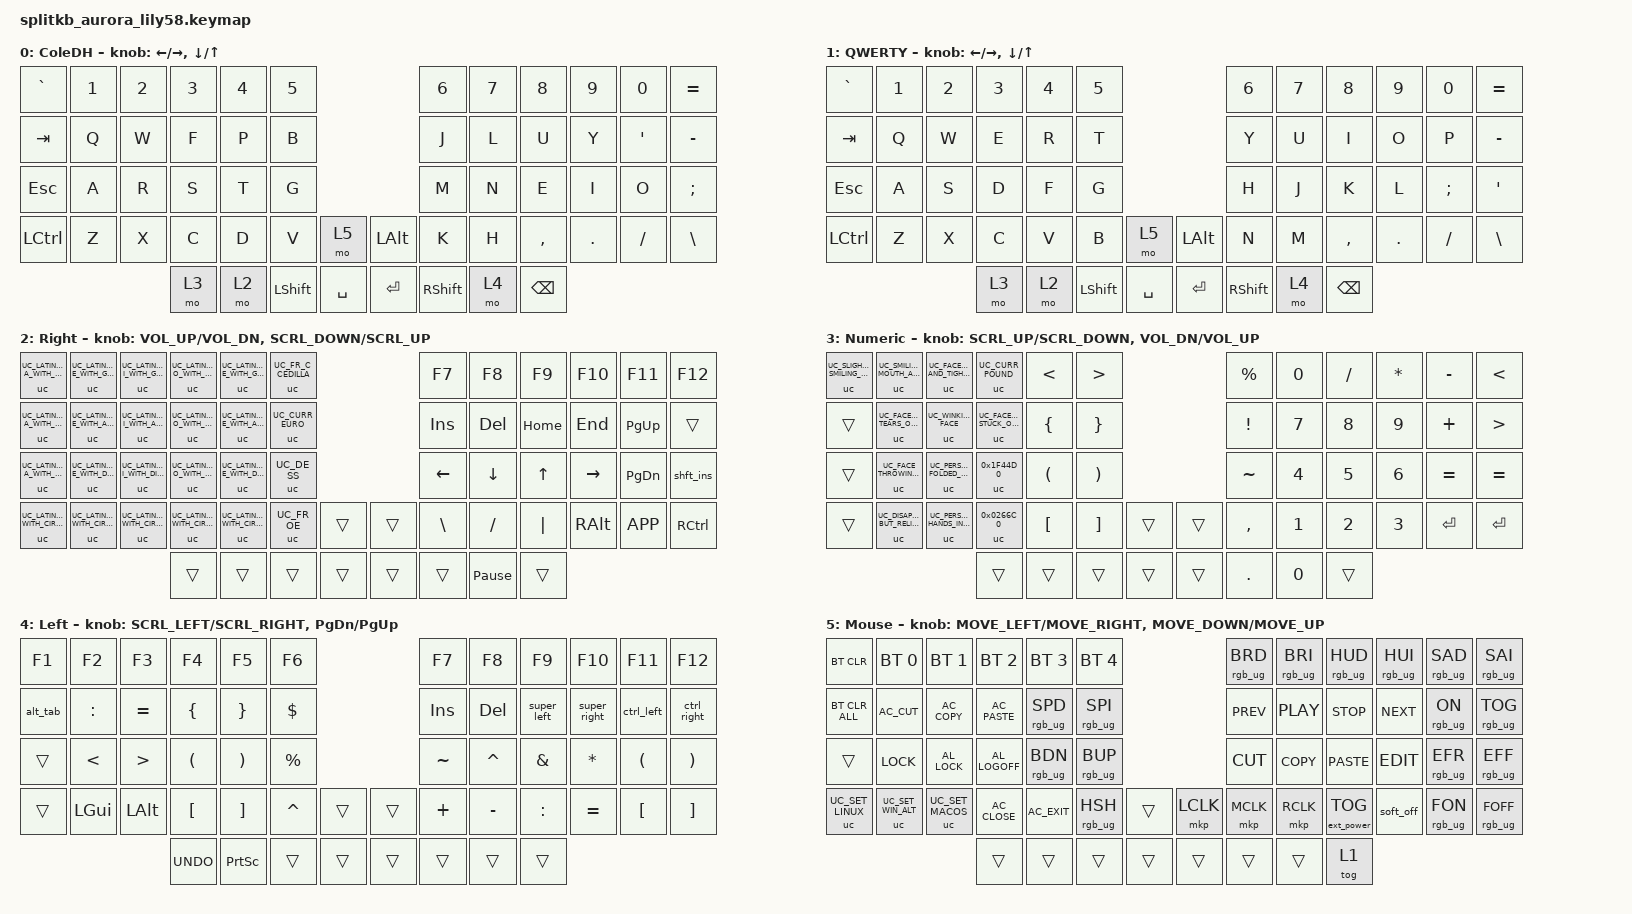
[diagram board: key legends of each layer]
/*
 * Copyright (c) 2022 The ZMK Contributors
 *
 * SPDX-License-Identifier: MIT
 */

#define ZMK_POINTING_DEFAULT_MOVE_VAL 1500  // default: 600
#define ZMK_POINTING_DEFAULT_SCRL_VAL 8     // default: 10

#include <behaviors/unicode.dtsi>
#include <behaviors.dtsi>
#include <dt-bindings/zmk/keys.h>
#include <dt-bindings/zmk/bt.h>
#include <dt-bindings/zmk/rgb.h>
#include <dt-bindings/zmk/ext_power.h>
#include <dt-bindings/zmk/pointing.h>
#include <dt-bindings/zmk-unicode/uc.h>
#include <zmk-unicode/keys-extra.h>

#define CLICK   &kp LCLK
#define L_SHFT  &kp LSHFT
#define R_SHFT  &kp RSHFT
#define L_ALT   &kp LALT
#define R_ALT   &kp RALT
#define L_CTRL  &kp LCTRL
#define R_CTRL  &kp RCTRL

#define CCUT    &kp C_AC_CUT
#define CCOPY   &kp C_AC_COPY
#define CPASTE  &kp C_AC_PASTE

#define KLOCK   &kp K_LOCK
#define CLOCK   &kp C_AL_LOCK
#define CLOGOFF &kp C_AL_LOGOFF

#define CCLOSE  &kp C_AC_CLOSE
#define CEXIT   &kp C_AC_EXIT

#define MO2     &mo 2
#define MO3     &mo 3
#define MO4     &mo 4
#define MO5     &mo 5

#define TOG1    &tog 1

#define RGBON   &rgb_ug RGB_ON
#define RGBOFF  &rgb_ug RGB_OFF
#define RGBFON  &rgb_ug RGB_FON
#define RGBFOFF &rgb_ug RGB_FOFF
#define RGBTOG  &rgb_ug RGB_TOG
#define RGBHUI  &rgb_ug RGB_HUI
#define RGBHUD  &rgb_ug RGB_HUD
#define RGBSAI  &rgb_ug RGB_SAI
#define RGBSAD  &rgb_ug RGB_SAD
#define RGBBRI  &rgb_ug RGB_BRI
#define RGBBRD  &rgb_ug RGB_BRD
#define RGBEFF  &rgb_ug RGB_EFF
#define RGBEFR  &rgb_ug RGB_EFR
#define RGBSPI  &rgb_ug RGB_SPI
#define RGBSPD  &rgb_ug RGB_SPD
#define RGBBUP  &rgb_ug RGB_BUP
#define RGBBDN  &rgb_ug RGB_BDN
#define RGBHSH  &rgb_ug RGB_HSH

#define BTCLR   &bt BT_CLR
#define BTSEL0  &bt BT_SEL 0
#define BTSEL1  &bt BT_SEL 1
#define BTSEL2  &bt BT_SEL 2
#define BTSEL3  &bt BT_SEL 3
#define BTSEL4  &bt BT_SEL 4
#define BTCLRA  &bt BT_CLR_ALL

#define EXTON   &ext_power EP_ON 
#define EXTOFF  &ext_power EP_OFF 
#define EXTTOG  &ext_power EP_TOG 

#define USLI    &uc UC_SET_LINUX
#define USWI    &uc UC_SET_WIN_ALT
#define USMA    &uc UC_SET_MACOS

#define AGRAVE  &uc UC_LATIN_LETTER_A_WITH_GRAVE
#define AACUTE  &uc UC_LATIN_LETTER_A_WITH_ACUTE
#define ADIAER  &uc UC_LATIN_LETTER_A_WITH_DIAERESIS
#define ACIRCM  &uc UC_LATIN_LETTER_A_WITH_CIRCUMFLEX
#define EGRAVE  &uc UC_LATIN_LETTER_E_WITH_GRAVE
#define EACUTE  &uc UC_LATIN_LETTER_E_WITH_ACUTE
#define EDIAER  &uc UC_LATIN_LETTER_E_WITH_DIAERESIS
#define ECIRCM  &uc UC_LATIN_LETTER_E_WITH_CIRCUMFLEX
#define IGRAVE  &uc UC_LATIN_LETTER_I_WITH_GRAVE
#define IACUTE  &uc UC_LATIN_LETTER_I_WITH_ACUTE
#define IDIAER  &uc UC_LATIN_LETTER_I_WITH_DIAERESIS
#define ICIRCM  &uc UC_LATIN_LETTER_I_WITH_CIRCUMFLEX
#define OGRAVE  &uc UC_LATIN_LETTER_O_WITH_GRAVE
#define OACUTE  &uc UC_LATIN_LETTER_O_WITH_ACUTE
#define ODIAER  &uc UC_LATIN_LETTER_O_WITH_DIAERESIS
#define OCIRCM  &uc UC_LATIN_LETTER_O_WITH_CIRCUMFLEX
#define UGRAVE  &uc UC_LATIN_LETTER_E_WITH_GRAVE
#define UACUTE  &uc UC_LATIN_LETTER_E_WITH_ACUTE
#define UDIAER  &uc UC_LATIN_LETTER_E_WITH_DIAERESIS
#define UCIRCM  &uc UC_LATIN_LETTER_U_WITH_CIRCUMFLEX

#define EURO    &uc UC_CURR_EURO
#define STERL   &uc UC_CURR_POUND

#define CDILLA  &uc UC_FR_C_CEDILLA
#define RINGLS  &uc UC_DE_SS

#define SMILE   &uc UC_SLIGHTLY_SMILING_FACE
#define LAUGH   &uc UC_SMILING_FACE_WITH_OPEN_MOUTH_AND_SMILING_EYES
#define KISS    &uc UC_FACE_THROWING_A_KISS
#define WINK    &uc UC_WINKING_FACE
#define CRINGE  &uc UC_FACE_WITH_STUCK_OUT_TONGUE_AND_TIGHTLY_CLOSED_EYES
#define TONGUE  &uc UC_FACE_WITH_STUCK_OUT_TONGUE
#define CRYING  &uc UC_DISAPPOINTED_BUT_RELIEVED_FACE
#define ROFL    &uc UC_FACE_WITH_TEARS_OF_JOY
#define HALLEH  &uc UC_PERSON_WITH_FOLDED_HANDS
#define CELEB   &uc UC_PERSON_RAISING_BOTH_HANDS_IN_CELEBRATION
#define THUMBS  &uc 0x1F44D 0
#define MUSIC   &uc 0x0266C 0

#define FRAE    &uc UC_FR_AE
#define FROE    &uc UC_FR_OE

#define EQ      EQUAL

&led_strip {
  chain-length = <29>;
};

&sensors {
  triggers-per-rotation = <40>;
};

&uc {
  default-mode = <UC_MODE_LINUX>;
};

&soft_off {
  hold-time-ms = <2000>;
  /delete-property/ split-peripheral-off-on-press;
};

/ {
    behaviors {
        scroll: keyboard_scroll {
            compatible = "zmk,behavior-sensor-rotate-var";
            #sensor-binding-cells = <2>;
            bindings = <&msc>, <&msc>;
            tap-ms = <200>;
        };
        move: keyboard_move {
            compatible = "zmk,behavior-sensor-rotate-var";
            #sensor-binding-cells = <2>;
            bindings = <&mmv>, <&mmv>;
            tap-ms = <100>;
        };
    };

    macros {
        alt_tab: alt_tab {
            compatible = "zmk,behavior-macro";
            #binding-cells = <0>;
            bindings = <&macro_press &kp LALT>, <&macro_tap &kp TAB>, <&macro_release &kp LALT>;
        };
        shft_ins: shft_ins {
            compatible = "zmk,behavior-macro";
            #binding-cells = <0>;
            bindings = <&macro_press &kp LSHFT>, <&macro_tap &kp INS>, <&macro_release &kp LSHFT>;
        };
        ctrl_left: ctrl_left {
            compatible = "zmk,behavior-macro";
            #binding-cells = <0>;
            bindings = <&macro_press &kp LCTRL>, <&macro_tap &kp LEFT>, <&macro_release &kp LCTRL>;
        };
        ctrl_right: ctrl_right {
            compatible = "zmk,behavior-macro";
            #binding-cells = <0>;
            bindings = <&macro_press &kp LCTRL>, <&macro_tap &kp RIGHT>, <&macro_release &kp LCTRL>;
        };
        super_left: super_left {
            compatible = "zmk,behavior-macro";
            #binding-cells = <0>;
            bindings = <&macro_press &kp LGUI>, <&macro_tap &kp LEFT>, <&macro_release &kp LGUI>;
        };
        super_right: super_right {
            compatible = "zmk,behavior-macro";
            #binding-cells = <0>;
            bindings = <&macro_press &kp LGUI>, <&macro_tap &kp RIGHT>, <&macro_release &kp LGUI>;
        };
    };

    keymap {
        compatible = "zmk,keymap";

        colemakdh_layer {
            display-name = "ColeDH";
            bindings = <
&kp GRAVE &kp N1 &kp N2 &kp N3   &kp N4  &kp N5                     &kp N6  &kp N7   &kp N8    &kp N9  &kp N0   &kp EQUAL
&kp TAB   &kp Q  &kp W  &kp F    &kp P   &kp B                      &kp J   &kp L    &kp U     &kp Y   &kp SQT  &kp MINUS
&kp ESC   &kp A  &kp R  &kp S    &kp T   &kp G                      &kp M   &kp N    &kp E     &kp I   &kp O    &kp SEMI
L_CTRL    &kp Z  &kp X  &kp C    &kp D   &kp V    MO5       L_ALT   &kp K   &kp H    &kp COMMA &kp DOT &kp FSLH &kp BSLH
                        MO3      MO2     L_SHFT   &kp SPACE &kp RET R_SHFT  MO4      &kp BSPC
            >;

            sensor-bindings = <&inc_dec_kp LEFT RIGHT &inc_dec_kp DOWN UP>;
        };

        qwerty_layer {
            display-name = "QWERTY";
            bindings = <
&kp GRAVE &kp N1 &kp N2 &kp N3   &kp N4  &kp N5                     &kp N6  &kp N7   &kp N8    &kp N9  &kp N0   &kp EQUAL
&kp TAB   &kp Q  &kp W  &kp E    &kp R   &kp T                      &kp Y   &kp U    &kp I     &kp O   &kp P    &kp MINUS
&kp ESC   &kp A  &kp S  &kp D    &kp F   &kp G                      &kp H   &kp J    &kp K     &kp L   &kp SEMI &kp SQT
L_CTRL    &kp Z  &kp X  &kp C    &kp V   &kp B    MO5       L_ALT   &kp N   &kp M    &kp COMMA &kp DOT &kp FSLH &kp BSLH
                        MO3      MO2     L_SHFT   &kp SPACE &kp RET R_SHFT  MO4      &kp BSPC
            >;

            sensor-bindings = <&inc_dec_kp LEFT RIGHT &inc_dec_kp DOWN UP>;
        };

        right_layer {
            display-name = "Right";
            bindings = <
AGRAVE   EGRAVE    IGRAVE   OGRAVE   UGRAVE   CDILLA                     &kp F7    &kp F8    &kp F9   &kp F10   &kp F11   &kp F12
AACUTE   EACUTE    IACUTE   OACUTE   UACUTE   EURO                       &kp INS   &kp DEL   &kp HOME &kp END   &kp PG_UP &trans
ADIAER   EDIAER    IDIAER   ODIAER   UDIAER   RINGLS                     &kp LEFT  &kp DOWN  &kp UP   &kp RIGHT &kp PG_DN &shft_ins
ACIRCM   ECIRCM    ICIRCM   OCIRCM   UCIRCM   FROE     &trans   &trans   &kp BSLH  &kp FSLH  &kp PIPE &kp RALT  &kp K_APP &kp RCTRL
                            &trans   &trans   &trans   &trans   &trans   &trans    &kp PAUSE_BREAK    &trans
            >;

            sensor-bindings = <&inc_dec_kp C_VOL_UP C_VOL_DN &scroll SCRL_DOWN SCRL_UP>;
        };

        numeric_layer {
            display-name = "Numeric";
            bindings = <
SMILE    LAUGH     CRINGE   STERL    &kp LT   &kp GT                     &kp PRCNT &kp N0    &kp FSLH &kp STAR  &kp MINUS  &kp LT
&trans   ROFL      WINK     TONGUE   &kp LBRC &kp RBRC                   &kp EXCL  &kp N7    &kp N8   &kp N9    &kp PLUS   &kp GT
&trans   KISS      HALLEH   THUMBS   &kp LPAR &kp RPAR                   &kp TILDE &kp N4    &kp N5   &kp N6    &kp EQUAL  &kp EQUAL
&trans   CRYING    CELEB    MUSIC    &kp LBKT &kp RBKT &trans   &trans   &kp COMMA &kp N1    &kp N2   &kp N3    &kp RET    &kp RET
                            &trans   &trans   &trans   &trans   &trans   &kp DOT   &kp N0    &trans
            >;

            sensor-bindings = <&scroll SCRL_UP SCRL_DOWN &inc_dec_kp C_VOL_DN C_VOL_UP>;
        };

        left_layer {
            display-name = "Left";
            bindings = <
&kp F1   &kp F2    &kp F3   &kp F4     &kp F5     &kp F6                       &kp F7      &kp F8    &kp F9      &kp F10      &kp F11    &kp F12
&alt_tab &kp COLON &kp EQ   &kp LBRC   &kp RBRC   &kp DOLLAR                   &kp INS     &kp DEL   &super_left &super_right &ctrl_left &ctrl_right
&trans   &kp LT    &kp GT   &kp LPAR   &kp RPAR   &kp PRCNT                    &kp TILDE   &kp CARET &kp AMPS    &kp STAR     &kp LPAR   &kp RPAR 
&trans   &kp LGUI  &kp LALT &kp LBKT   &kp RBKT   &kp CARET &trans   &trans    &kp PLUS    &kp MINUS &kp COLON   &kp EQ       &kp LBKT   &kp RBKT
                            &kp K_UNDO &kp PSCRN  &trans    &trans   &trans    &trans      &trans    &trans
            >;

            sensor-bindings = <&scroll SCRL_LEFT SCRL_RIGHT &inc_dec_kp PG_DN PG_UP>;
        };

        mouse_layer {
            display-name = "Mouse";
            bindings = <
BTCLR    BTSEL0   BTSEL1    BTSEL2      BTSEL3  BTSEL4                        RGBBRD      RGBBRI      RGBHUD      RGBHUI     RGBSAD    RGBSAI
BTCLRA   CCUT     CCOPY     CPASTE      RGBSPD  RGBSPI                        &kp C_PREV  &kp C_PLAY  &kp C_STOP  &kp C_NEXT RGBON     RGBTOG
&trans   KLOCK    CLOCK     CLOGOFF     RGBBDN  RGBBUP                        &kp K_CUT   &kp K_COPY  &kp K_PASTE &kp K_EDIT RGBEFR    RGBEFF
USLI     USWI     USMA      CCLOSE      CEXIT   RGBHSH    &trans   &mkp LCLK  &mkp MCLK   &mkp RCLK   EXTTOG      &soft_off  RGBFON    RGBFOFF
                            &trans      &trans  &trans    &trans   &trans     &trans      &trans      TOG1
            >;

            sensor-bindings = <&move MOVE_LEFT MOVE_RIGHT &move MOVE_DOWN MOVE_UP>;
        };
    };
};

